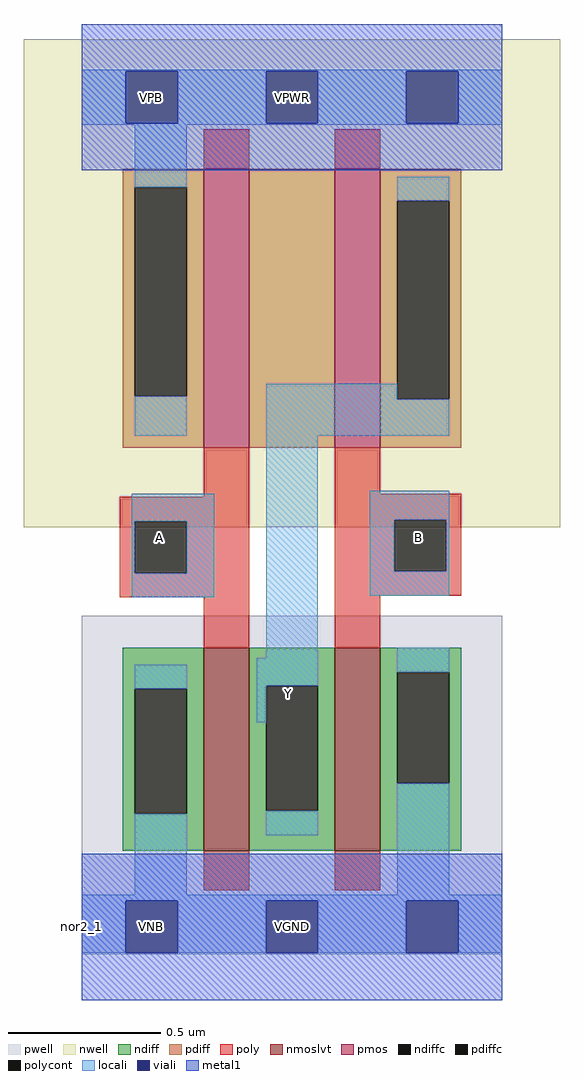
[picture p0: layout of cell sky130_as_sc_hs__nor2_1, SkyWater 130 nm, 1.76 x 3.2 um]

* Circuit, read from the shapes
.subckt sky130_as_sc_hs__nor2_1 VNB VPB VPWR VGND B A Y
XM1 Y A VGND VNB sky130_fd_pr__nfet_01v8_lvt w=0.665 l=0.15
XM2 VGND B Y VNB sky130_fd_pr__nfet_01v8_lvt w=0.665 l=0.15
XM3 n1 A VPWR VPB sky130_fd_pr__pfet_01v8 w=0.915 l=0.15
XM4 Y B n1 VPB sky130_fd_pr__pfet_01v8 w=0.915 l=0.15
.ends

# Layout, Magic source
magic
tech sky130A
magscale 1 2
<< nwell >>
rect -38 262 314 582
<< pwell >>
rect 0 -18 276 204
<< nmoslvt >>
rect 80 50 110 183
rect 166 50 196 183
<< pmos >>
rect 80 314 110 497
rect 166 314 196 497
<< ndiff >>
rect 27 156 80 183
rect 27 74 35 156
rect 69 74 80 156
rect 27 50 80 74
rect 110 158 166 183
rect 110 76 121 158
rect 155 76 166 158
rect 110 50 166 76
rect 196 167 249 183
rect 196 94 207 167
rect 241 94 249 167
rect 196 50 249 94
<< pdiff >>
rect 27 485 80 497
rect 27 348 35 485
rect 69 348 80 485
rect 27 314 80 348
rect 110 314 166 497
rect 196 476 249 497
rect 196 346 207 476
rect 241 346 249 476
rect 196 314 249 346
<< ndiffc >>
rect 35 74 69 156
rect 121 76 155 158
rect 207 94 241 167
<< pdiffc >>
rect 35 348 69 485
rect 207 346 241 476
<< poly >>
rect 80 497 110 523
rect 166 497 196 523
rect 80 282 110 314
rect 25 266 110 282
rect 25 232 35 266
rect 69 232 110 266
rect 25 216 110 232
rect 80 183 110 216
rect 166 284 196 314
rect 166 267 249 284
rect 166 233 205 267
rect 239 233 249 267
rect 166 217 249 233
rect 166 183 196 217
rect 80 24 110 50
rect 166 24 196 50
<< polycont >>
rect 35 232 69 266
rect 205 233 239 267
<< locali >>
rect 0 561 276 562
rect 0 527 29 561
rect 63 527 121 561
rect 155 527 213 561
rect 247 527 276 561
rect 0 526 276 527
rect 35 485 69 526
rect 207 476 241 492
rect 35 322 69 348
rect 121 346 207 356
rect 121 322 241 346
rect 33 266 87 284
rect 33 232 35 266
rect 69 232 87 266
rect 33 216 87 232
rect 121 176 155 322
rect 189 267 241 286
rect 189 233 205 267
rect 239 233 241 267
rect 189 217 241 233
rect 35 156 69 172
rect 115 158 155 176
rect 115 134 121 158
rect 35 21 69 74
rect 121 60 155 76
rect 207 167 241 183
rect 207 21 241 94
rect 0 17 276 21
rect 0 -17 29 17
rect 63 -17 121 17
rect 155 -17 213 17
rect 247 -17 276 17
<< viali >>
rect 29 527 63 561
rect 121 527 155 561
rect 213 527 247 561
rect 29 -17 63 17
rect 121 -17 155 17
rect 213 -17 247 17
<< metal1 >>
rect 0 561 276 592
rect 0 527 29 561
rect 63 527 121 561
rect 155 527 213 561
rect 247 527 276 561
rect 0 496 276 527
rect 0 17 276 48
rect 0 -17 29 17
rect 63 -17 121 17
rect 155 -17 213 17
rect 247 -17 276 17
rect 0 -48 276 -17
<< labels >>
rlabel comment s 0 0 0 0 4 nor2_1
flabel pwell s 29 -17 63 17 0 FreeSans 200 0 0 0 VNB
port 1 nsew ground bidirectional
flabel pwell s 46 0 46 0 0 FreeSans 200 0 0 0 VNB
flabel nwell s 29 527 63 561 0 FreeSans 200 0 0 0 VPB
port 2 nsew power bidirectional
flabel nwell s 46 544 46 544 0 FreeSans 200 0 0 0 VPB
flabel metal1 s 29 527 63 561 0 FreeSans 200 0 0 0 VPWR
port 3 nsew power bidirectional abutment
flabel metal1 s 29 -17 63 17 0 FreeSans 200 0 0 0 VGND
port 4 nsew ground bidirectional abutment
rlabel metal1 s 0 -48 276 48 1 VGND
port 4 nsew ground bidirectional abutment
rlabel metal1 s 0 496 276 592 1 VPWR
port 3 nsew power bidirectional abutment
flabel locali s 34 238 68 272 0 FreeSans 200 0 0 0 A
port 6 nsew signal input
flabel locali s 51 255 51 255 0 FreeSans 200 0 0 0 A
flabel locali s 204 238 238 272 0 FreeSans 200 0 0 0 B
port 5 nsew signal input
flabel locali s 221 255 221 255 0 FreeSans 200 0 0 0 B
flabel locali s 119 136 153 170 0 FreeSans 200 0 0 0 Y
port 7 nsew signal output
flabel ndiffc 136 153 136 153 0 FreeSans 200 0 0 0 Y
<< properties >>
string FIXED_BBOX 0 0 276 544
string GDS_FILE $PDKPATH/libs.ref/sky130_as_sc_hs/gds/sky130_as_sc_hs__nor2_1.mag
string LEFclass CORE
string LEFsite unithd
string LEFsymmetry X Y R90
string path 0.000 0.000 6.900 0.000 
<< end >>
